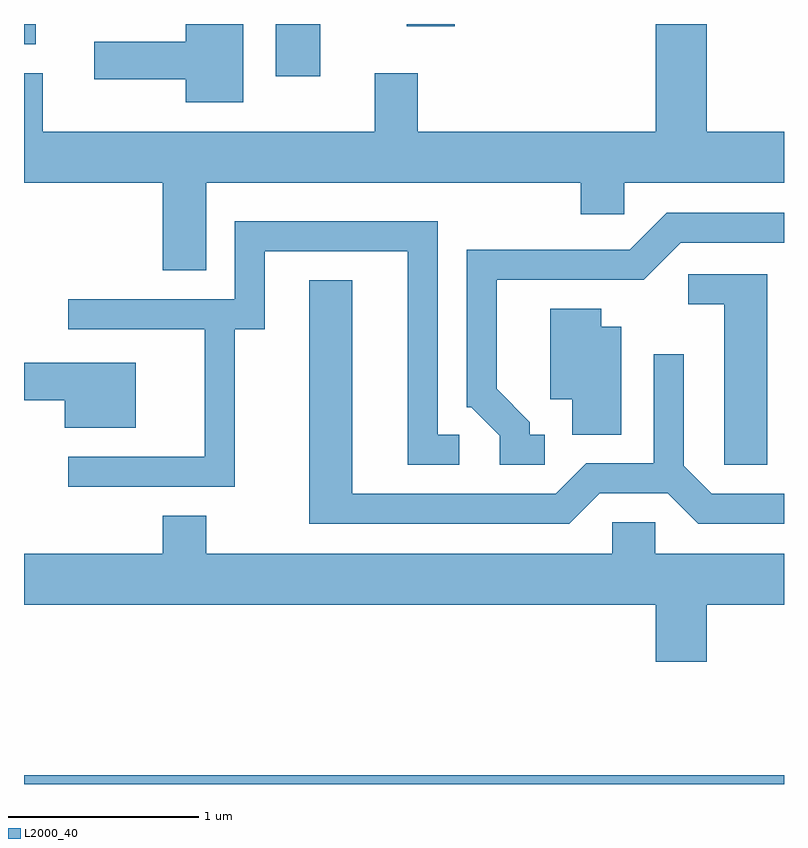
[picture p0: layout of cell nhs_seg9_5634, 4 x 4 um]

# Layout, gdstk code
import gdstk
lib = gdstk.Library(unit=1e-6, precision=1e-09)
def R(c, l, rs):  # rectangles x0, y0, x1, y1
    for r in rs: c.add(gdstk.rectangle(r[:2], r[2:], *l))
def P(c, l, *ps):  # polygons
    for p in ps: c.add(gdstk.Polygon(p, *l))
L2000_40 = (2000, 40)

nhs_seg9_5634 = lib.new_cell('nhs_seg9_5634')
R(nhs_seg9_5634, L2000_40, [(351.611,1986.432,355.611,1986.479), (352.936,1990.156,353.169,1990.432), (351.611,1990.326,351.674,1990.432), (353.626,1990.421,353.879,1990.432)])
P(nhs_seg9_5634, L2000_40, [(352.569,1989.596),(354.541,1989.596),(354.541,1989.431),(354.769,1989.431),(354.769,1989.596),(355.611,1989.596),(355.611,1989.864),(355.204,1989.864),(355.204,1990.432),(354.936,1990.432),(354.936,1989.864),(353.684,1989.864),(353.684,1990.174),(353.456,1990.174),(353.456,1989.864),(351.709,1989.864),(351.709,1990.174),(351.611,1990.174),(351.611,1989.596),(352.341,1989.596),(352.341,1989.136),(352.569,1989.136)],
  [(352.764,1990.432),(352.461,1990.432),(352.461,1990.339),(351.981,1990.339),(351.981,1990.141),(352.461,1990.141),(352.461,1990.021),(352.764,1990.021)],
  [(354.353,1988.269),(354.274,1988.269),(354.274,1988.337),(354.099,1988.512),(354.099,1989.086),(354.872,1989.086),(355.067,1989.281),(355.611,1989.281),(355.611,1989.439),(354.994,1989.439),(354.799,1989.244),(353.941,1989.244),(353.941,1988.416),(353.964,1988.416),(354.116,1988.264),(354.116,1988.111),(354.353,1988.111)],
  [(352.719,1988.826),(352.879,1988.826),(352.879,1989.236),(353.631,1989.236),(353.631,1988.111),(353.903,1988.111),(353.903,1988.269),(353.789,1988.269),(353.789,1989.394),(352.721,1989.394),(352.721,1988.984),(351.843,1988.984),(351.843,1988.826),(352.561,1988.826),(352.561,1988.154),(351.843,1988.154),(351.843,1987.996),(352.719,1987.996)],
  [(355.524,1989.114),(355.108,1989.114),(355.108,1988.956),(355.296,1988.956),(355.296,1988.111),(355.524,1988.111)],
  [(354.642,1987.961),(354.999,1987.961),(355.159,1987.801),(355.611,1987.801),(355.611,1987.959),(355.232,1987.959),(355.084,1988.107),(355.084,1988.693),(354.926,1988.693),(354.926,1988.119),(354.569,1988.119),(354.409,1987.959),(353.339,1987.959),(353.339,1989.084),(353.111,1989.084),(353.111,1987.801),(354.482,1987.801)],
  [(354.754,1988.839),(354.649,1988.839),(354.649,1988.934),(354.381,1988.934),(354.381,1988.456),(354.496,1988.456),(354.496,1988.271),(354.754,1988.271)],
  [(352.199,1988.649),(351.611,1988.649),(351.611,1988.451),(351.826,1988.451),(351.826,1988.306),(352.199,1988.306)],
  [(355.204,1987.376),(355.611,1987.376),(355.611,1987.644),(354.934,1987.644),(354.934,1987.809),(354.706,1987.809),(354.706,1987.644),(352.569,1987.644),(352.569,1987.844),(352.341,1987.844),(352.341,1987.644),(351.611,1987.644),(351.611,1987.376),(354.936,1987.376),(354.936,1987.076),(355.204,1987.076)])

lib.write_gds('nhs_seg9_5634.gds')
